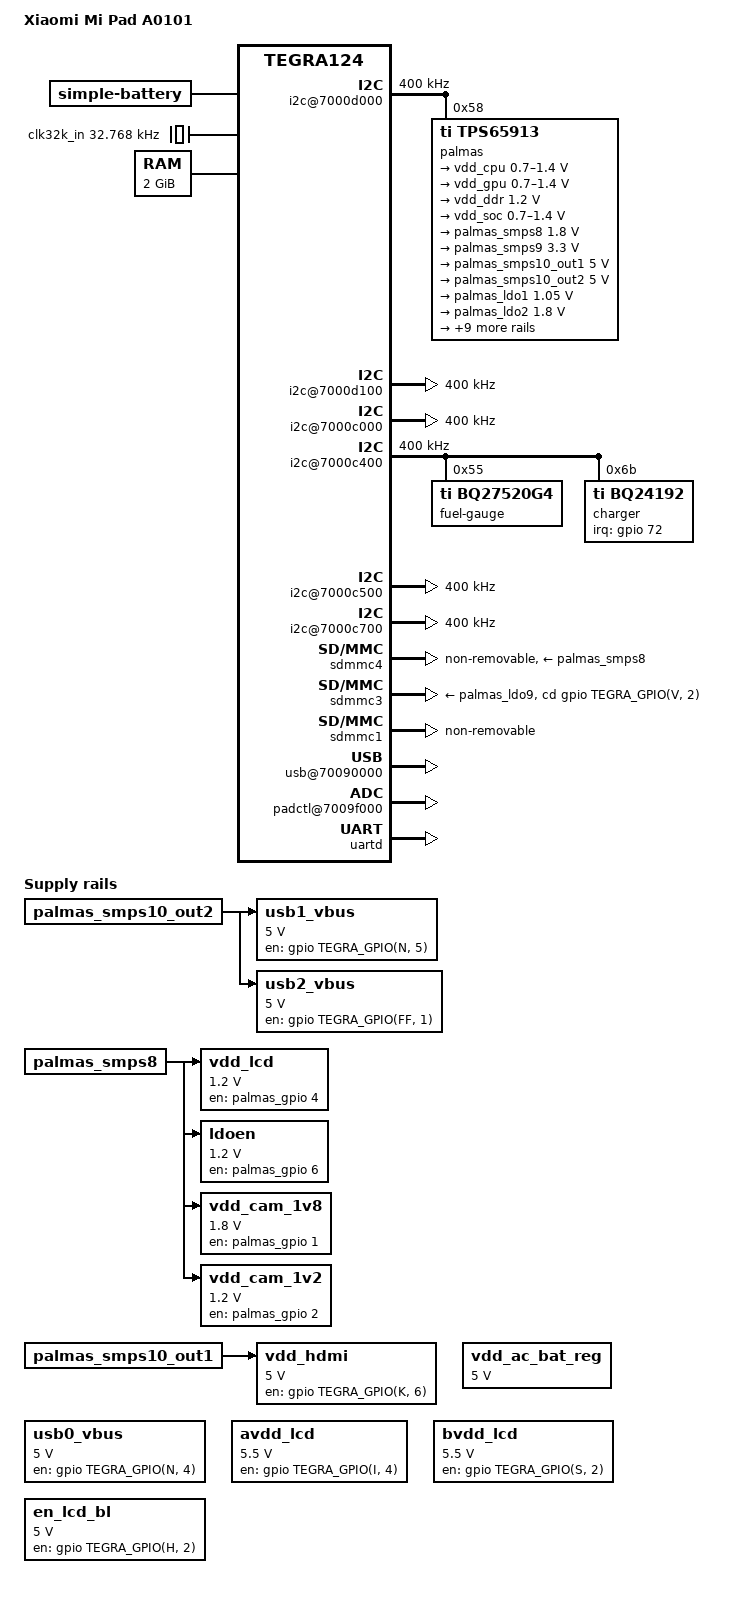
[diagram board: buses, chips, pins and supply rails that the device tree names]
// SPDX-License-Identifier: GPL-2.0
/dts-v1/;

#include <dt-bindings/input/input.h>
#include "tegra124.dtsi"
#include "tegra124-xiaomi-mocha-emc.dtsi"
 
/ {
    model = "Xiaomi Mi Pad A0101";
    compatible = "xiaomi,mocha", "nvidia,tegra124";

	aliases {
		rtc0 = "/i2c@7000d000/pmic@58";
		rtc1 = "/rtc@7000e000";
		sdhci0 = &sdmmc1;
		sdhci2 = &sdmmc3;
		sdhci3 = &sdmmc4;
	};

	bat: battery {
		compatible = "simple-battery";
		voltage-min-design-microvolt = <3800000>;
		energy-full-design-microwatt-hours = <24780000>;
		charge-full-design-microamp-hours = <6520000>;
	};

	clock@70110000 {
		status = "okay";
		vdd-cpu-supply = <&vdd_cpu>;
		nvidia,i2c-fs-rate = <400000>;
	};

	clk32k_in: clock-32k {
		compatible = "fixed-clock";
		reg = <0>;
		#clock-cells = <0>;
		clock-frequency = <32768>;
	};
	
	chosen {
		stdout-path = &uartd;
	};

	cpus {
		cpu@0 {
			vdd-cpu-supply = <&vdd_cpu>;
			enable-method = "psci";
		};

		cpu@1 {
			enable-method = "psci";
		};

		cpu@2 {
			enable-method = "psci";
		};

		cpu@3 {
			enable-method = "psci";
		};
	};

	memory {
		device_type = "memory";
		reg = <0x0 0x80000000 0x0 0x80000000>;
	};

	i2c@7000d000 {
		clock-frequency = <400000>;
		status = "okay";
		palmas: pmic@58 {
			compatible = "ti,tps65913", "ti,palmas";
			reg = <0x58>;
			interrupts = <GIC_SPI 86 IRQ_TYPE_LEVEL_HIGH>;

			#interrupt-cells = <2>;
			interrupt-controller;
			
			ti,system-power-controller;

			palmas_gpio: gpio {
				compatible = "ti,palmas-gpio";
				gpio-controller;
				#gpio-cells = <2>;
			};

			rtc {
				compatible = "ti,palmas-rtc";
				interrupt-parent = <&palmas>;
				interrupts = <8 0>;
			};

			pinmux {
				compatible = "ti,tps65913-pinctrl";
				pinctrl-names = "default";
				pinctrl-0 = <&palmas_default>;

				palmas_default: pinmux {
					powergood {
						pins = "powergood";
						function = "powergood";
					};

					vac {
						pins = "vac";
						function = "vac";
					};

					pin_gpio0 {
						pins = "gpio0";
						function = "id";
						bias-pull-up;
					};

					pin_gpio1 {
						pins = "gpio1";
						function = "gpio";
					};

					pin_gpio6 {
						pins = "gpio2", "gpio3", "gpio4", "gpio6", "gpio7";
						function = "gpio";
					};

					pin_gpio5 {
						pins = "gpio5";
						function = "clk32kgaudio";
					};
				};
			};

			palmas_extcon: extcon {
				compatible = "ti,palmas-usb-vid";
				ti,wakeup;
				#extcon-cells = <0x1>;
				ti,enable-id-detection;
				ti,enable-vbus-detection;
			};

			clk32kgaudio: palmas_clk32k@0 {
				compatible = "ti,palmas-clk32kgaudio";
				#clock-cells = <0>;
			};
			
			palmas_clk32kg@1 {
				compatible = "ti,palmas-clk32kg";
				#clock-cells = <0>;
			};

			pmic {
				compatible = "ti,tps65913-pmic", "ti,palmas-pmic";
				ldo1-in-supply = <&vdd_ddr>;
				ldo2-in-supply = <&vdd_ddr>;
				ldo3-in-supply = <&palmas_smps10_out2>;
				ldo5-in-supply = <&palmas_smps8>;
				ldo6-in-supply = <&palmas_smps9>;
				ldo7-in-supply = <&palmas_smps9>;
				ldo9-in-supply = <&palmas_smps9>;
				ldoln-in-supply = <&palmas_smps10_out2>;
				smps10-out2-supply = <&palmas_smps10_out2>;

				regulators {
					vdd_cpu: smps123 {
						regulator-name = "vdd-cpu";
						regulator-min-microvolt = <700000>;
						regulator-max-microvolt = <1400000>;
						regulator-always-on;
						regulator-boot-on;
					};

					vdd_gpu: smps45 {
						regulator-name = "vdd-gpu";
						regulator-min-microvolt = <700000>;
						regulator-max-microvolt = <1400000>;
						regulator-init-microvolt = <1000000>;
						regulator-boot-on;
					};

					vdd_ddr: smps6 {
						regulator-name = "vddio-ddr";
						regulator-always-on;
						regulator-boot-on;
						regulator-min-microvolt = <1200000>;
						regulator-max-microvolt = <1200000>;
					};

					vdd_soc: smps7 {
						regulator-name = "vdd-core";
						regulator-min-microvolt = <700000>;
						regulator-max-microvolt = <1400000>;
						regulator-always-on;
						regulator-boot-on;
					};

					palmas_smps8: smps8 {
						regulator-name = "vdd-1v8";
						regulator-always-on;
						regulator-boot-on;
						regulator-min-microvolt = <1800000>;
						regulator-max-microvolt = <1800000>;
					};

					palmas_smps9: smps9 {
						regulator-name = "vdd-snsr";
						regulator-min-microvolt = <3300000>;
						regulator-max-microvolt = <3300000>;
						regulator-always-on;
						regulator-boot-on;
					};

					palmas_smps10_out1: smps10_out1 {
						regulator-name = "vdd-out1-5v0";
						regulator-min-microvolt = <5000000>;
						regulator-max-microvolt = <5000000>;
						regulator-always-on;
						regulator-boot-on;
					};

					palmas_smps10_out2: smps10_out2 {
						regulator-name = "vdd-out2-5v0";
						regulator-min-microvolt = <5000000>;
						regulator-max-microvolt = <5000000>;
					};

					palmas_ldo1: ldo1 {
						regulator-name = "avdd-pll";
						regulator-always-on;
						regulator-boot-on;
						regulator-min-microvolt = <1050000>;
						regulator-max-microvolt = <1050000>;
					};

					palmas_ldo2: ldo2 {
						regulator-name = "vdd-lcd-io";
						regulator-min-microvolt = <1800000>;
						regulator-max-microvolt = <1800000>;
						regulator-always-on;
						regulator-boot-on;
					};

					ldo3_reg: ldo3 {
						regulator-name = "vdd-touch";
						regulator-min-microvolt = <3300000>;
						regulator-max-microvolt = <3300000>;
					};

					ldo4 {
						regulator-name = "avdd-cam";
						regulator-min-microvolt = <2700000>;
						regulator-max-microvolt = <2700000>;
					};

					ldo5_reg: ldo5 {
						regulator-name = "avdd-dsi-csi";
						regulator-min-microvolt = <1200000>;
						regulator-max-microvolt = <1200000>;
					};

					ldo6 {
						regulator-name = "vdd-cam-af";
						regulator-min-microvolt = <1800000>;
						regulator-max-microvolt = <1800000>;
					};

					ldo7 {
						regulator-name = "avdd-cam-af";
						regulator-min-microvolt = <2700000>;
						regulator-max-microvolt = <2700000>;
					};

					ldo8 {
						regulator-name = "vdd-rtc";
						regulator-min-microvolt = <950000>;
						regulator-max-microvolt = <950000>;
						regulator-always-on;
						regulator-boot-on;
					};

					palmas_ldo9: ldo9 {
						regulator-name = "vddio-sdmmc-2";
						regulator-min-microvolt = <1800000>;
						regulator-max-microvolt = <3300000>;
					};

					palmas_ldoln: ldoln {
						regulator-name = "vddio-hv";
						regulator-always-on;
						regulator-boot-on;
						regulator-min-microvolt = <3300000>;
						regulator-max-microvolt = <3300000>;
					};

					ldousb_reg: ldousb {
						regulator-name = "avdd-usb";
						regulator-always-on;
						regulator-boot-on;
						regulator-min-microvolt = <3300000>;
						regulator-max-microvolt = <3300000>;
					};
				};
			};
		};
	};

	i2c@7000d100 {
		status = "okay";
		clock-frequency = <400000>;
	};

	i2c@7000c000 {
		status = "okay";
		clock-frequency = <400000>;
	};

	i2c@7000c400 {
		status = "okay";
		clock-frequency = <400000>;
		#address-cells = <1>;
		#size-cells = <0>;

		fuel-gauge@55 {
			compatible = "ti,bq27520g4";
			reg = <0x55>;
			monitored-battery = <&bat>;
		};

		charger@6b {
			compatible = "ti,bq24192";
			reg = <0x6b>;
			interrupt-parent = <&gpio>;
			interrupts = <72 IRQ_TYPE_LEVEL_HIGH>;
			monitored-battery = <&bat>;
			omit-battery-class;
	
			usb_otg_vbus: usb-otg-vbus { };
		  };
	};

	i2c@7000c500 {
		status = "okay";
		clock-frequency = <400000>;
	};

	i2c@7000c700 {
		status = "okay";
		clock-frequency = <400000>;
	};

	sdmmc4: mmc@700b0600 {
		vmmc-supply = <&palmas_smps8>;
		bus_width = <8>;
		non-removable;
		max-frequency = <51000000>;
		status = "okay";
 	};
	
	/* SDcard */
	sdmmc3: mmc@700b0400 {
		sd-uhs-ddr50;
		mmc-ddr-3_3v;
		max-frequency = <41000000>;
 		power-gpios = <&gpio TEGRA_GPIO(R, 0) 0>;
 		cd-gpios = <&gpio TEGRA_GPIO(V, 2) 0>;
 		vmmc-supply = <&palmas_ldo9>;
		vqmmc-supply = <&palmas_smps9>;
		status = "okay";
	};
	
	/* Wi-Fi */
	sdmmc1: mmc@700b0000 {
		non-removable;
		power-gpios = <&gpio TEGRA_GPIO(X, 7) 0>;
		vqmmc-supply = <&palmas_smps8>;
 		status = "okay";
	};

	pinmux: pinmux@70000868 {
		status = "okay";
		pinctrl-names = "default";
		pinctrl-0 = <&pinmux_default>;

		pinmux_default: common {
			dap_mclk1_pw4 {
				nvidia,pins = "dap_mclk1_pw4";
				nvidia,function = "extperiph1";
				nvidia,enable-input = <TEGRA_PIN_DISABLE>;
				nvidia,pull = <TEGRA_PIN_PULL_NONE>;
				nvidia,tristate = <TEGRA_PIN_DISABLE>;
			};

			dap1_din_pn1 {
				nvidia,pins = "dap1_din_pn1";
				nvidia,function = "i2s0";
				nvidia,enable-input = <TEGRA_PIN_ENABLE>;
				nvidia,pull = <TEGRA_PIN_PULL_NONE>;
				nvidia,tristate = <TEGRA_PIN_ENABLE>;
			};

			dap1_dout_pn2 {
				nvidia,pins = "dap1_dout_pn2";
				nvidia,function = "i2s0";
				nvidia,enable-input = <TEGRA_PIN_DISABLE>;
				nvidia,pull = <TEGRA_PIN_PULL_NONE>;
				nvidia,tristate = <TEGRA_PIN_ENABLE>;
			};

			dap1_fs_pn0 {
				nvidia,pins = "dap1_fs_pn0";
				nvidia,function = "i2s0";
				nvidia,enable-input = <TEGRA_PIN_ENABLE>;
				nvidia,pull = <TEGRA_PIN_PULL_NONE>;
				nvidia,tristate = <TEGRA_PIN_ENABLE>;
			};

			dap1_sclk_pn3 {
				nvidia,pins = "dap1_sclk_pn3";
				nvidia,function = "i2s0";
				nvidia,enable-input = <TEGRA_PIN_ENABLE>;
				nvidia,pull = <TEGRA_PIN_PULL_NONE>;
				nvidia,tristate = <TEGRA_PIN_ENABLE>;
			};

			dap2_din_pa4 {
				nvidia,pins = "dap2_din_pa4";
				nvidia,function = "i2s1";
				nvidia,enable-input = <TEGRA_PIN_DISABLE>;
				nvidia,pull = <TEGRA_PIN_PULL_NONE>;
				nvidia,tristate = <TEGRA_PIN_DISABLE>;
			};

			dap2_dout_pa5 {
				nvidia,pins = "dap2_dout_pa5";
				nvidia,function = "i2s1";
				nvidia,enable-input = <TEGRA_PIN_DISABLE>;
				nvidia,pull = <TEGRA_PIN_PULL_NONE>;
				nvidia,tristate = <TEGRA_PIN_DISABLE>;
			};

			dap2_fs_pa2 {
				nvidia,pins = "dap2_fs_pa2";
				nvidia,function = "i2s1";
				nvidia,enable-input = <TEGRA_PIN_ENABLE>;
				nvidia,pull = <TEGRA_PIN_PULL_UP>;
				nvidia,tristate = <TEGRA_PIN_DISABLE>;
			};

			dap2_sclk_pa3 {
				nvidia,pins = "dap2_sclk_pa3";
				nvidia,function = "i2s1";
				nvidia,enable-input = <TEGRA_PIN_ENABLE>;
				nvidia,pull = <TEGRA_PIN_PULL_UP>;
				nvidia,tristate = <TEGRA_PIN_DISABLE>;
			};

			dvfs_pwm_px0 {
				nvidia,pins = "dvfs_pwm_px0";
				nvidia,function = "cldvfs";
				nvidia,enable-input = <TEGRA_PIN_DISABLE>;
				nvidia,pull = <TEGRA_PIN_PULL_NONE>;
				nvidia,tristate = <TEGRA_PIN_ENABLE>;
			};

			dvfs_clk_px2 {
				nvidia,pins = "dvfs_clk_px2";
				nvidia,function = "cldvfs";
				nvidia,enable-input = <TEGRA_PIN_DISABLE>;
				nvidia,pull = <TEGRA_PIN_PULL_NONE>;
				nvidia,tristate = <TEGRA_PIN_DISABLE>;
			};

			cam_i2c_scl_pbb1 {
				nvidia,pins = "cam_i2c_scl_pbb1";
				nvidia,function = "i2c3";
				nvidia,enable-input = <TEGRA_PIN_ENABLE>;
				nvidia,pull = <TEGRA_PIN_PULL_NONE>;
				nvidia,tristate = <TEGRA_PIN_DISABLE>;
				nvidia,lock = <TEGRA_PIN_DISABLE>;
				nvidia,open-drain = <TEGRA_PIN_DISABLE>;
			};

			cam_i2c_sda_pbb2 {
				nvidia,pins = "cam_i2c_sda_pbb2";
				nvidia,function = "i2c3";
				nvidia,enable-input = <TEGRA_PIN_ENABLE>;
				nvidia,pull = <TEGRA_PIN_PULL_NONE>;
				nvidia,tristate = <TEGRA_PIN_DISABLE>;
				nvidia,lock = <TEGRA_PIN_DISABLE>;
				nvidia,open-drain = <TEGRA_PIN_DISABLE>;
			};

			cam_mclk_pcc0 {
				nvidia,pins = "cam_mclk_pcc0";
				nvidia,function = "vi_alt3";
				nvidia,enable-input = <TEGRA_PIN_DISABLE>;
				nvidia,pull = <TEGRA_PIN_PULL_NONE>;
				nvidia,tristate = <TEGRA_PIN_DISABLE>;
			};

			pbb0 {
				nvidia,pins = "pbb0";
				nvidia,function = "vimclk2_alt";
				nvidia,enable-input = <TEGRA_PIN_DISABLE>;
				nvidia,pull = <TEGRA_PIN_PULL_NONE>;
				nvidia,tristate = <TEGRA_PIN_DISABLE>;
			};

			gen2_i2c_scl_pt5 {
				nvidia,pins = "gen2_i2c_scl_pt5";
				nvidia,function = "i2c2";
				nvidia,enable-input = <TEGRA_PIN_ENABLE>;
				nvidia,pull = <TEGRA_PIN_PULL_NONE>;
				nvidia,tristate = <TEGRA_PIN_DISABLE>;
				nvidia,lock = <TEGRA_PIN_DISABLE>;
				nvidia,open-drain = <TEGRA_PIN_DISABLE>;
			};

			gen2_i2c_sda_pt6 {
				nvidia,pins = "gen2_i2c_sda_pt6";
				nvidia,function = "i2c2";
				nvidia,enable-input = <TEGRA_PIN_ENABLE>;
				nvidia,pull = <TEGRA_PIN_PULL_NONE>;
				nvidia,tristate = <TEGRA_PIN_DISABLE>;
				nvidia,lock = <TEGRA_PIN_DISABLE>;
				nvidia,open-drain = <TEGRA_PIN_DISABLE>;
			};

			pj7 {
				nvidia,pins = "pj7";
				nvidia,function = "uartd";
				nvidia,enable-input = <TEGRA_PIN_DISABLE>;
				nvidia,pull = <TEGRA_PIN_PULL_NONE>;
				nvidia,tristate = <TEGRA_PIN_DISABLE>;
			};

			pb0 {
				nvidia,pins = "pb0";
				nvidia,function = "uartd";
				nvidia,enable-input = <TEGRA_PIN_ENABLE>;
				nvidia,pull = <TEGRA_PIN_PULL_UP>;
				nvidia,tristate = <TEGRA_PIN_ENABLE>;
			};

			pg6 {
				nvidia,pins = "pg6";
				nvidia,function = "rsvd1";
				nvidia,enable-input = <TEGRA_PIN_DISABLE>;
				nvidia,pull = <TEGRA_PIN_PULL_NONE>;
				nvidia,tristate = <TEGRA_PIN_DISABLE>;
			};

			pg7 {
				nvidia,pins = "pg7";
				nvidia,function = "rsvd1";
				nvidia,enable-input = <TEGRA_PIN_DISABLE>;
				nvidia,pull = <TEGRA_PIN_PULL_NONE>;
				nvidia,tristate = <TEGRA_PIN_DISABLE>;
			};

			ph0 {
				nvidia,pins = "ph0";
				nvidia,function = "pwm0";
				nvidia,enable-input = <TEGRA_PIN_DISABLE>;
				nvidia,pull = <TEGRA_PIN_PULL_NONE>;
				nvidia,tristate = <TEGRA_PIN_DISABLE>;
			};

			ph1 {
				nvidia,pins = "ph1";
				nvidia,function = "pwm1";
				nvidia,enable-input = <TEGRA_PIN_DISABLE>;
				nvidia,pull = <TEGRA_PIN_PULL_NONE>;
				nvidia,tristate = <TEGRA_PIN_DISABLE>;
			};

			pj2 {
				nvidia,pins = "pj2";
				nvidia,function = "soc";
				nvidia,enable-input = <TEGRA_PIN_ENABLE>;
				nvidia,pull = <TEGRA_PIN_PULL_UP>;
				nvidia,tristate = <TEGRA_PIN_DISABLE>;
			};

			kb_row15_ps7 {
				nvidia,pins = "kb_row15_ps7";
				nvidia,function = "soc";
				nvidia,enable-input = <TEGRA_PIN_ENABLE>;
				nvidia,pull = <TEGRA_PIN_PULL_UP>;
				nvidia,tristate = <TEGRA_PIN_DISABLE>;
			};

			clk_32k_out_pa0 {
				nvidia,pins = "clk_32k_out_pa0";
				nvidia,function = "soc";
				nvidia,enable-input = <TEGRA_PIN_ENABLE>;
				nvidia,pull = <TEGRA_PIN_PULL_UP>;
				nvidia,tristate = <TEGRA_PIN_DISABLE>;
			};

			clk2_out_pw5 {
				nvidia,pins = "clk2_out_pw5";
				nvidia,function = "extperiph2";
				nvidia,enable-input = <TEGRA_PIN_DISABLE>;
				nvidia,pull = <TEGRA_PIN_PULL_UP>;
				nvidia,tristate = <TEGRA_PIN_DISABLE>;
			};

			sdmmc1_clk_pz0 {
				nvidia,pins = "sdmmc1_clk_pz0";
				nvidia,function = "sdmmc1";
				nvidia,enable-input = <TEGRA_PIN_ENABLE>;
				nvidia,pull = <TEGRA_PIN_PULL_NONE>;
				nvidia,tristate = <TEGRA_PIN_DISABLE>;
			};

			sdmmc1_cmd_pz1 {
				nvidia,pins = "sdmmc1_cmd_pz1";
				nvidia,function = "sdmmc1";
				nvidia,enable-input = <TEGRA_PIN_ENABLE>;
				nvidia,pull = <TEGRA_PIN_PULL_UP>;
				nvidia,tristate = <TEGRA_PIN_DISABLE>;
			};

			sdmmc1_dat0_py7 {
				nvidia,pins = "sdmmc1_dat0_py7";
				nvidia,function = "sdmmc1";
				nvidia,enable-input = <TEGRA_PIN_ENABLE>;
				nvidia,pull = <TEGRA_PIN_PULL_UP>;
				nvidia,tristate = <TEGRA_PIN_DISABLE>;
			};

			sdmmc1_dat1_py6 {
				nvidia,pins = "sdmmc1_dat1_py6";
				nvidia,function = "sdmmc1";
				nvidia,enable-input = <TEGRA_PIN_ENABLE>;
				nvidia,pull = <TEGRA_PIN_PULL_UP>;
				nvidia,tristate = <TEGRA_PIN_DISABLE>;
			};

			sdmmc1_dat2_py5 {
				nvidia,pins = "sdmmc1_dat2_py5";
				nvidia,function = "sdmmc1";
				nvidia,enable-input = <TEGRA_PIN_ENABLE>;
				nvidia,pull = <TEGRA_PIN_PULL_UP>;
				nvidia,tristate = <TEGRA_PIN_DISABLE>;
			};

			sdmmc1_dat3_py4 {
				nvidia,pins = "sdmmc1_dat3_py4";
				nvidia,function = "sdmmc1";
				nvidia,enable-input = <TEGRA_PIN_ENABLE>;
				nvidia,pull = <TEGRA_PIN_PULL_UP>;
				nvidia,tristate = <TEGRA_PIN_DISABLE>;
			};

			sdmmc3_clk_pa6 {
				nvidia,pins = "sdmmc3_clk_pa6";
				nvidia,function = "sdmmc3";
				nvidia,enable-input = <TEGRA_PIN_ENABLE>;
				nvidia,pull = <TEGRA_PIN_PULL_NONE>;
				nvidia,tristate = <TEGRA_PIN_DISABLE>;
			};

			sdmmc3_cmd_pa7 {
				nvidia,pins = "sdmmc3_cmd_pa7";
				nvidia,function = "sdmmc3";
				nvidia,enable-input = <TEGRA_PIN_ENABLE>;
				nvidia,pull = <TEGRA_PIN_PULL_UP>;
				nvidia,tristate = <TEGRA_PIN_DISABLE>;
			};

			sdmmc3_dat0_pb7 {
				nvidia,pins = "sdmmc3_dat0_pb7";
				nvidia,function = "sdmmc3";
				nvidia,enable-input = <TEGRA_PIN_ENABLE>;
				nvidia,pull = <TEGRA_PIN_PULL_UP>;
				nvidia,tristate = <TEGRA_PIN_DISABLE>;
			};

			sdmmc3_dat1_pb6 {
				nvidia,pins = "sdmmc3_dat1_pb6";
				nvidia,function = "sdmmc3";
				nvidia,enable-input = <TEGRA_PIN_ENABLE>;
				nvidia,pull = <TEGRA_PIN_PULL_UP>;
				nvidia,tristate = <TEGRA_PIN_DISABLE>;
			};

			sdmmc3_dat2_pb5 {
				nvidia,pins = "sdmmc3_dat2_pb5";
				nvidia,function = "sdmmc3";
				nvidia,enable-input = <TEGRA_PIN_ENABLE>;
				nvidia,pull = <TEGRA_PIN_PULL_UP>;
				nvidia,tristate = <TEGRA_PIN_DISABLE>;
			};

			sdmmc3_dat3_pb4 {
				nvidia,pins = "sdmmc3_dat3_pb4";
				nvidia,function = "sdmmc3";
				nvidia,enable-input = <TEGRA_PIN_ENABLE>;
				nvidia,pull = <TEGRA_PIN_PULL_UP>;
				nvidia,tristate = <TEGRA_PIN_DISABLE>;
			};

			sdmmc3_clk_lb_out_pee4 {
				nvidia,pins = "sdmmc3_clk_lb_out_pee4";
				nvidia,function = "sdmmc3";
				nvidia,enable-input = <TEGRA_PIN_ENABLE>;
				nvidia,pull = <TEGRA_PIN_PULL_UP>;
				nvidia,tristate = <TEGRA_PIN_DISABLE>;
			};

			sdmmc3_clk_lb_in_pee5 {
				nvidia,pins = "sdmmc3_clk_lb_in_pee5";
				nvidia,function = "sdmmc3";
				nvidia,enable-input = <TEGRA_PIN_ENABLE>;
				nvidia,pull = <TEGRA_PIN_PULL_UP>;
				nvidia,tristate = <TEGRA_PIN_DISABLE>;
			};

			sdmmc3_cd_n_pv2 {
				nvidia,pins = "sdmmc3_cd_n_pv2";
				nvidia,function = "sdmmc3";
				nvidia,enable-input = <TEGRA_PIN_ENABLE>;
				nvidia,pull = <TEGRA_PIN_PULL_NONE>;
				nvidia,tristate = <TEGRA_PIN_DISABLE>;
			};

			sdmmc4_clk_pcc4 {
				nvidia,pins = "sdmmc4_clk_pcc4";
				nvidia,function = "sdmmc4";
				nvidia,enable-input = <TEGRA_PIN_ENABLE>;
				nvidia,pull = <TEGRA_PIN_PULL_NONE>;
				nvidia,tristate = <TEGRA_PIN_DISABLE>;
			};

			sdmmc4_cmd_pt7 {
				nvidia,pins = "sdmmc4_cmd_pt7";
				nvidia,function = "sdmmc4";
				nvidia,enable-input = <TEGRA_PIN_ENABLE>;
				nvidia,pull = <TEGRA_PIN_PULL_UP>;
				nvidia,tristate = <TEGRA_PIN_DISABLE>;
			};

			sdmmc4_dat0_paa0 {
				nvidia,pins = "sdmmc4_dat0_paa0";
				nvidia,function = "sdmmc4";
				nvidia,enable-input = <TEGRA_PIN_ENABLE>;
				nvidia,pull = <TEGRA_PIN_PULL_UP>;
				nvidia,tristate = <TEGRA_PIN_DISABLE>;
			};

			sdmmc4_dat1_paa1 {
				nvidia,pins = "sdmmc4_dat1_paa1";
				nvidia,function = "sdmmc4";
				nvidia,enable-input = <TEGRA_PIN_ENABLE>;
				nvidia,pull = <TEGRA_PIN_PULL_UP>;
				nvidia,tristate = <TEGRA_PIN_DISABLE>;
			};

			sdmmc4_dat2_paa2 {
				nvidia,pins = "sdmmc4_dat2_paa2";
				nvidia,function = "sdmmc4";
				nvidia,enable-input = <TEGRA_PIN_ENABLE>;
				nvidia,pull = <TEGRA_PIN_PULL_UP>;
				nvidia,tristate = <TEGRA_PIN_DISABLE>;
			};

			sdmmc4_dat3_paa3 {
				nvidia,pins = "sdmmc4_dat3_paa3";
				nvidia,function = "sdmmc4";
				nvidia,enable-input = <TEGRA_PIN_ENABLE>;
				nvidia,pull = <TEGRA_PIN_PULL_UP>;
				nvidia,tristate = <TEGRA_PIN_DISABLE>;
			};

			sdmmc4_dat4_paa4 {
				nvidia,pins = "sdmmc4_dat4_paa4";
				nvidia,function = "sdmmc4";
				nvidia,enable-input = <TEGRA_PIN_ENABLE>;
				nvidia,pull = <TEGRA_PIN_PULL_UP>;
				nvidia,tristate = <TEGRA_PIN_DISABLE>;
			};

			sdmmc4_dat5_paa5 {
				nvidia,pins = "sdmmc4_dat5_paa5";
				nvidia,function = "sdmmc4";
				nvidia,enable-input = <TEGRA_PIN_ENABLE>;
				nvidia,pull = <TEGRA_PIN_PULL_UP>;
				nvidia,tristate = <TEGRA_PIN_DISABLE>;
			};

			sdmmc4_dat6_paa6 {
				nvidia,pins = "sdmmc4_dat6_paa6";
				nvidia,function = "sdmmc4";
				nvidia,enable-input = <TEGRA_PIN_ENABLE>;
				nvidia,pull = <TEGRA_PIN_PULL_UP>;
				nvidia,tristate = <TEGRA_PIN_DISABLE>;
			};

			sdmmc4_dat7_paa7 {
				nvidia,pins = "sdmmc4_dat7_paa7";
				nvidia,function = "sdmmc4";
				nvidia,enable-input = <TEGRA_PIN_ENABLE>;
				nvidia,pull = <TEGRA_PIN_PULL_UP>;
				nvidia,tristate = <TEGRA_PIN_DISABLE>;
			};

			kb_row3_pr3 {
				nvidia,pins = "kb_row3_pr3";
				nvidia,function = "kbc";
				nvidia,enable-input = <TEGRA_PIN_ENABLE>;
				nvidia,pull = <TEGRA_PIN_PULL_NONE>;
				nvidia,tristate = <TEGRA_PIN_DISABLE>;
			};

			kb_row6_pr6 {
				nvidia,pins = "kb_row6_pr6";
				nvidia,function = "displaya_alt";
				nvidia,enable-input = <TEGRA_PIN_ENABLE>;
				nvidia,pull = <TEGRA_PIN_PULL_NONE>;
				nvidia,tristate = <TEGRA_PIN_DISABLE>;
			};

			pwr_i2c_scl_pz6 {
				nvidia,pins = "pwr_i2c_scl_pz6";
				nvidia,function = "i2cpwr";
				nvidia,enable-input = <TEGRA_PIN_ENABLE>;
				nvidia,pull = <TEGRA_PIN_PULL_NONE>;
				nvidia,tristate = <TEGRA_PIN_DISABLE>;
				nvidia,open-drain = <TEGRA_PIN_DISABLE>;
			};

			pwr_i2c_sda_pz7 {
				nvidia,pins = "pwr_i2c_sda_pz7";
				nvidia,function = "i2cpwr";
				nvidia,enable-input = <TEGRA_PIN_ENABLE>;
				nvidia,pull = <TEGRA_PIN_PULL_NONE>;
				nvidia,tristate = <TEGRA_PIN_DISABLE>;
				nvidia,open-drain = <TEGRA_PIN_DISABLE>;
			};

			clk_32k_in {
				nvidia,pins = "clk_32k_in";
				nvidia,function = "clk";
				nvidia,enable-input = <TEGRA_PIN_ENABLE>;
				nvidia,pull = <TEGRA_PIN_PULL_NONE>;
				nvidia,tristate = <TEGRA_PIN_DISABLE>;
			};

			core_pwr_req {
				nvidia,pins = "core_pwr_req";
				nvidia,function = "pwron";
				nvidia,enable-input = <TEGRA_PIN_DISABLE>;
				nvidia,pull = <TEGRA_PIN_PULL_NONE>;
				nvidia,tristate = <TEGRA_PIN_DISABLE>;
			};

			cpu_pwr_req {
				nvidia,pins = "cpu_pwr_req";
				nvidia,function = "cpu";
				nvidia,enable-input = <TEGRA_PIN_DISABLE>;
				nvidia,pull = <TEGRA_PIN_PULL_NONE>;
				nvidia,tristate = <TEGRA_PIN_DISABLE>;
			};

			pwr_int_n {
				nvidia,pins = "pwr_int_n";
				nvidia,function = "pmi";
				nvidia,enable-input = <TEGRA_PIN_ENABLE>;
				nvidia,pull = <TEGRA_PIN_PULL_UP>;
				nvidia,tristate = <TEGRA_PIN_DISABLE>;
			};

			reset_out_n {
				nvidia,pins = "reset_out_n";
				nvidia,function = "reset_out_n";
				nvidia,enable-input = <TEGRA_PIN_DISABLE>;
				nvidia,pull = <TEGRA_PIN_PULL_NONE>;
				nvidia,tristate = <TEGRA_PIN_DISABLE>;
			};

			gen1_i2c_sda_pc5 {
				nvidia,pins = "gen1_i2c_sda_pc5";
				nvidia,function = "i2c1";
				nvidia,enable-input = <TEGRA_PIN_ENABLE>;
				nvidia,pull = <TEGRA_PIN_PULL_NONE>;
				nvidia,tristate = <TEGRA_PIN_DISABLE>;
				nvidia,lock = <TEGRA_PIN_DISABLE>;
				nvidia,open-drain = <TEGRA_PIN_DISABLE>;
			};

			gen1_i2c_scl_pc4 {
				nvidia,pins = "gen1_i2c_scl_pc4";
				nvidia,function = "i2c1";
				nvidia,enable-input = <TEGRA_PIN_ENABLE>;
				nvidia,pull = <TEGRA_PIN_PULL_NONE>;
				nvidia,tristate = <TEGRA_PIN_DISABLE>;
				nvidia,lock = <TEGRA_PIN_DISABLE>;
				nvidia,open-drain = <TEGRA_PIN_DISABLE>;
			};

			uart2_cts_n_pj5 {
				nvidia,pins = "uart2_cts_n_pj5";
				nvidia,function = "uartb";
				nvidia,enable-input = <TEGRA_PIN_ENABLE>;
				nvidia,pull = <TEGRA_PIN_PULL_UP>;
				nvidia,tristate = <TEGRA_PIN_DISABLE>;
			};

			uart2_rts_n_pj6 {
				nvidia,pins = "uart2_rts_n_pj6";
				nvidia,function = "uartb";
				nvidia,enable-input = <TEGRA_PIN_DISABLE>;
				nvidia,pull = <TEGRA_PIN_PULL_UP>;
				nvidia,tristate = <TEGRA_PIN_DISABLE>;
			};

			uart2_rxd_pc3 {
				nvidia,pins = "uart2_rxd_pc3";
				nvidia,function = "irda";
				nvidia,enable-input = <TEGRA_PIN_ENABLE>;
				nvidia,pull = <TEGRA_PIN_PULL_UP>;
				nvidia,tristate = <TEGRA_PIN_DISABLE>;
			};

			uart2_txd_pc2 {
				nvidia,pins = "uart2_txd_pc2";
				nvidia,function = "irda";
				nvidia,enable-input = <TEGRA_PIN_DISABLE>;
				nvidia,pull = <TEGRA_PIN_PULL_UP>;
				nvidia,tristate = <TEGRA_PIN_DISABLE>;
			};

			uart3_cts_n_pa1 {
				nvidia,pins = "uart3_cts_n_pa1";
				nvidia,function = "uartc";
				nvidia,enable-input = <TEGRA_PIN_ENABLE>;
				nvidia,pull = <TEGRA_PIN_PULL_UP>;
				nvidia,tristate = <TEGRA_PIN_DISABLE>;
			};

			uart3_rts_n_pc0 {
				nvidia,pins = "uart3_rts_n_pc0";
				nvidia,function = "uartc";
				nvidia,enable-input = <TEGRA_PIN_DISABLE>;
				nvidia,pull = <TEGRA_PIN_PULL_UP>;
				nvidia,tristate = <TEGRA_PIN_DISABLE>;
			};

			uart3_rxd_pw7 {
				nvidia,pins = "uart3_rxd_pw7";
				nvidia,function = "uartc";
				nvidia,enable-input = <TEGRA_PIN_ENABLE>;
				nvidia,pull = <TEGRA_PIN_PULL_UP>;
				nvidia,tristate = <TEGRA_PIN_DISABLE>;
			};

			uart3_txd_pw6 {
				nvidia,pins = "uart3_txd_pw6";
				nvidia,function = "uartc";
				nvidia,enable-input = <TEGRA_PIN_DISABLE>;
				nvidia,pull = <TEGRA_PIN_PULL_UP>;
				nvidia,tristate = <TEGRA_PIN_DISABLE>;
			};

			ddc_scl_pv4 {
				nvidia,pins = "ddc_scl_pv4";
				nvidia,function = "i2c4";
				nvidia,enable-input = <TEGRA_PIN_ENABLE>;
				nvidia,pull = <TEGRA_PIN_PULL_NONE>;
				nvidia,tristate = <TEGRA_PIN_DISABLE>;
			};

			ddc_sda_pv5 {
				nvidia,pins = "ddc_sda_pv5";
				nvidia,function = "i2c4";
				nvidia,enable-input = <TEGRA_PIN_ENABLE>;
				nvidia,pull = <TEGRA_PIN_PULL_NONE>;
				nvidia,tristate = <TEGRA_PIN_DISABLE>;
			};

			pi7 {
				nvidia,pins = "pi7";
				nvidia,function = "rsvd1";
				nvidia,enable-input = <TEGRA_PIN_ENABLE>;
				nvidia,pull = <TEGRA_PIN_PULL_UP>;
				nvidia,tristate = <TEGRA_PIN_DISABLE>;
			};

			gpio_x5_aud_px5 {
				nvidia,pins = "gpio_x5_aud_px5";
				nvidia,function = "spi1";
				nvidia,enable-input = <TEGRA_PIN_DISABLE>;
				nvidia,pull = <TEGRA_PIN_PULL_NONE>;
				nvidia,tristate = <TEGRA_PIN_DISABLE>;
			};

			gpio_x7_aud_px7 {
				nvidia,pins = "gpio_x7_aud_px7";
				nvidia,function = "spi1";
				nvidia,enable-input = <TEGRA_PIN_DISABLE>;
				nvidia,pull = <TEGRA_PIN_PULL_NONE>;
				nvidia,tristate = <TEGRA_PIN_DISABLE>;
			};

			gpio_w2_aud_pw2 {
				nvidia,pins = "gpio_w2_aud_pw2";
				nvidia,function = "rsvd2";
				nvidia,enable-input = <TEGRA_PIN_ENABLE>;
				nvidia,pull = <TEGRA_PIN_PULL_UP>;
				nvidia,tristate = <TEGRA_PIN_DISABLE>;
			};

			gpio_w3_aud_pw3 {
				nvidia,pins = "gpio_w3_aud_pw3";
				nvidia,function = "spi1";
				nvidia,enable-input = <TEGRA_PIN_ENABLE>;
				nvidia,pull = <TEGRA_PIN_PULL_UP>;
				nvidia,tristate = <TEGRA_PIN_DISABLE>;
			};

			gpio_x1_aud_px1 {
				nvidia,pins = "gpio_x1_aud_px1";
				nvidia,function = "spi6";
				nvidia,enable-input = <TEGRA_PIN_DISABLE>;
				nvidia,pull = <TEGRA_PIN_PULL_NONE>;
				nvidia,tristate = <TEGRA_PIN_DISABLE>;
			};

			gpio_x3_aud_px3 {
				nvidia,pins = "gpio_x3_aud_px3";
				nvidia,function = "spi6";
				nvidia,enable-input = <TEGRA_PIN_ENABLE>;
				nvidia,pull = <TEGRA_PIN_PULL_UP>;
				nvidia,tristate = <TEGRA_PIN_DISABLE>;
			};

			ulpi_data1_po2 {
				nvidia,pins = "ulpi_data1_po2";
				nvidia,function = "spi3";
				nvidia,enable-input = <TEGRA_PIN_ENABLE>;
				nvidia,pull = <TEGRA_PIN_PULL_UP>;
				nvidia,tristate = <TEGRA_PIN_DISABLE>;
			};

			ulpi_data2_po3 {
				nvidia,pins = "ulpi_data2_po3";
				nvidia,function = "spi3";
				nvidia,enable-input = <TEGRA_PIN_ENABLE>;
				nvidia,pull = <TEGRA_PIN_PULL_UP>;
				nvidia,tristate = <TEGRA_PIN_DISABLE>;
			};

			pbb3 {
				nvidia,pins = "pbb3";
				nvidia,function = "vgp3";
				nvidia,enable-input = <TEGRA_PIN_DISABLE>;
				nvidia,pull = <TEGRA_PIN_PULL_NONE>;
				nvidia,tristate = <TEGRA_PIN_DISABLE>;
			};

			pbb4 {
				nvidia,pins = "pbb4";
				nvidia,function = "vgp4";
				nvidia,enable-input = <TEGRA_PIN_DISABLE>;
				nvidia,pull = <TEGRA_PIN_PULL_UP>;
				nvidia,tristate = <TEGRA_PIN_DISABLE>;
			};

			pbb5 {
				nvidia,pins = "pbb5";
				nvidia,function = "vgp5";
				nvidia,enable-input = <TEGRA_PIN_DISABLE>;
				nvidia,pull = <TEGRA_PIN_PULL_UP>;
				nvidia,tristate = <TEGRA_PIN_DISABLE>;
			};

			pbb6 {
				nvidia,pins = "pbb6";
				nvidia,function = "i2s4";
				nvidia,enable-input = <TEGRA_PIN_DISABLE>;
				nvidia,pull = <TEGRA_PIN_PULL_NONE>;
				nvidia,tristate = <TEGRA_PIN_DISABLE>;
			};

			pbb7 {
				nvidia,pins = "pbb7";
				nvidia,function = "i2s4";
				nvidia,enable-input = <TEGRA_PIN_DISABLE>;
				nvidia,pull = <TEGRA_PIN_PULL_NONE>;
				nvidia,tristate = <TEGRA_PIN_DISABLE>;
			};

			pcc1 {
				nvidia,pins = "pcc1";
				nvidia,function = "i2s4";
				nvidia,enable-input = <TEGRA_PIN_DISABLE>;
				nvidia,pull = <TEGRA_PIN_PULL_NONE>;
				nvidia,tristate = <TEGRA_PIN_DISABLE>;
			};

			ph2 {
				nvidia,pins = "ph2";
				nvidia,function = "pwm2";
				nvidia,enable-input = <TEGRA_PIN_DISABLE>;
				nvidia,pull = <TEGRA_PIN_PULL_NONE>;
				nvidia,tristate = <TEGRA_PIN_DISABLE>;
			};

			ph3 {
				nvidia,pins = "ph3";
				nvidia,function = "gmi";
				nvidia,enable-input = <TEGRA_PIN_DISABLE>;
				nvidia,pull = <TEGRA_PIN_PULL_UP>;
				nvidia,tristate = <TEGRA_PIN_DISABLE>;
			};

			ph5 {
				nvidia,pins = "ph5";
				nvidia,function = "gmi";
				nvidia,enable-input = <TEGRA_PIN_DISABLE>;
				nvidia,pull = <TEGRA_PIN_PULL_NONE>;
				nvidia,tristate = <TEGRA_PIN_DISABLE>;
			};

			pg2 {
				nvidia,pins = "pg2";
				nvidia,function = "rsvd4";
				nvidia,enable-input = <TEGRA_PIN_ENABLE>;
				nvidia,pull = <TEGRA_PIN_PULL_DOWN>;
				nvidia,tristate = <TEGRA_PIN_DISABLE>;
			};

			pg3 {
				nvidia,pins = "pg3";
				nvidia,function = "rsvd4";
				nvidia,enable-input = <TEGRA_PIN_ENABLE>;
				nvidia,pull = <TEGRA_PIN_PULL_DOWN>;
				nvidia,tristate = <TEGRA_PIN_DISABLE>;
			};

			pk1 {
				nvidia,pins = "pk1";
				nvidia,function = "gmi";
				nvidia,enable-input = <TEGRA_PIN_DISABLE>;
				nvidia,pull = <TEGRA_PIN_PULL_NONE>;
				nvidia,tristate = <TEGRA_PIN_DISABLE>;
			};

			pj0 {
				nvidia,pins = "pj0";
				nvidia,function = "rsvd1";
				nvidia,enable-input = <TEGRA_PIN_ENABLE>;
				nvidia,pull = <TEGRA_PIN_PULL_UP>;
				nvidia,tristate = <TEGRA_PIN_DISABLE>;
			};

			pk4 {
				nvidia,pins = "pk4";
				nvidia,function = "gmi";
				nvidia,enable-input = <TEGRA_PIN_DISABLE>;
				nvidia,pull = <TEGRA_PIN_PULL_NONE>;
				nvidia,tristate = <TEGRA_PIN_DISABLE>;
			};

			pk2 {
				nvidia,pins = "pk2";
				nvidia,function = "rsvd4";
				nvidia,enable-input = <TEGRA_PIN_ENABLE>;
				nvidia,pull = <TEGRA_PIN_PULL_UP>;
				nvidia,tristate = <TEGRA_PIN_DISABLE>;
			};

			pi6 {
				nvidia,pins = "pi6";
				nvidia,function = "rsvd1";
				nvidia,enable-input = <TEGRA_PIN_ENABLE>;
				nvidia,pull = <TEGRA_PIN_PULL_UP>;
				nvidia,tristate = <TEGRA_PIN_DISABLE>;
			};

			pi5 {
				nvidia,pins = "pi5";
				nvidia,function = "gmi";
				nvidia,enable-input = <TEGRA_PIN_ENABLE>;
				nvidia,pull = <TEGRA_PIN_PULL_UP>;
				nvidia,tristate = <TEGRA_PIN_DISABLE>;
			};

			pi4 {
				nvidia,pins = "pi4";
				nvidia,function = "gmi";
				nvidia,enable-input = <TEGRA_PIN_DISABLE>;
				nvidia,pull = <TEGRA_PIN_PULL_UP>;
				nvidia,tristate = <TEGRA_PIN_DISABLE>;
			};

			pi0 {
				nvidia,pins = "pi0";
				nvidia,function = "rsvd4";
				nvidia,enable-input = <TEGRA_PIN_DISABLE>;
				nvidia,pull = <TEGRA_PIN_PULL_NONE>;
				nvidia,tristate = <TEGRA_PIN_DISABLE>;
			};

			clk2_req_pcc5 {
				nvidia,pins = "clk2_req_pcc5";
				nvidia,function = "dap";
				nvidia,enable-input = <TEGRA_PIN_DISABLE>;
				nvidia,pull = <TEGRA_PIN_PULL_NONE>;
				nvidia,tristate = <TEGRA_PIN_DISABLE>;
			};

			kb_col0_pq0 {
				nvidia,pins = "kb_col0_pq0";
				nvidia,function = "rsvd4";
				nvidia,enable-input = <TEGRA_PIN_ENABLE>;
				nvidia,pull = <TEGRA_PIN_PULL_UP>;
				nvidia,tristate = <TEGRA_PIN_DISABLE>;
			};

			kb_col5_pq5 {
				nvidia,pins = "kb_col5_pq5";
				nvidia,function = "rsvd4";
				nvidia,enable-input = <TEGRA_PIN_ENABLE>;
				nvidia,pull = <TEGRA_PIN_PULL_UP>;
				nvidia,tristate = <TEGRA_PIN_DISABLE>;
			};

			kb_col6_pq6 {
				nvidia,pins = "kb_col6_pq6";
				nvidia,function = "rsvd2";
				nvidia,enable-input = <TEGRA_PIN_ENABLE>;
				nvidia,pull = <TEGRA_PIN_PULL_UP>;
				nvidia,tristate = <TEGRA_PIN_DISABLE>;
			};

			kb_col7_pq7 {
				nvidia,pins = "kb_col7_pq7";
				nvidia,function = "rsvd2";
				nvidia,enable-input = <TEGRA_PIN_ENABLE>;
				nvidia,pull = <TEGRA_PIN_PULL_UP>;
				nvidia,tristate = <TEGRA_PIN_DISABLE>;
			};

			kb_row0_pr0 {
				nvidia,pins = "kb_row0_pr0";
				nvidia,function = "rsvd4";
				nvidia,enable-input = <TEGRA_PIN_DISABLE>;
				nvidia,pull = <TEGRA_PIN_PULL_NONE>;
				nvidia,tristate = <TEGRA_PIN_DISABLE>;
			};

			kb_row1_pr1 {
				nvidia,pins = "kb_row1_pr1";
				nvidia,function = "rsvd4";
				nvidia,enable-input = <TEGRA_PIN_DISABLE>;
				nvidia,pull = <TEGRA_PIN_PULL_NONE>;
				nvidia,tristate = <TEGRA_PIN_DISABLE>;
			};

			kb_row13_ps5 {
				nvidia,pins = "kb_row13_ps5";
				nvidia,function = "rsvd4";
				nvidia,enable-input = <TEGRA_PIN_ENABLE>;
				nvidia,pull = <TEGRA_PIN_PULL_UP>;
				nvidia,tristate = <TEGRA_PIN_DISABLE>;
			};

			kb_row14_ps6 {
				nvidia,pins = "kb_row14_ps6";
				nvidia,function = "rsvd4";
				nvidia,enable-input = <TEGRA_PIN_DISABLE>;
				nvidia,pull = <TEGRA_PIN_PULL_NONE>;
				nvidia,tristate = <TEGRA_PIN_DISABLE>;
			};

			kb_row2_pr2 {
				nvidia,pins = "kb_row2_pr2";
				nvidia,function = "rsvd4";
				nvidia,enable-input = <TEGRA_PIN_DISABLE>;
				nvidia,pull = <TEGRA_PIN_PULL_NONE>;
				nvidia,tristate = <TEGRA_PIN_DISABLE>;
			};

			kb_row5_pr5 {
				nvidia,pins = "kb_row5_pr5";
				nvidia,function = "rsvd3";
				nvidia,enable-input = <TEGRA_PIN_DISABLE>;
				nvidia,pull = <TEGRA_PIN_PULL_NONE>;
				nvidia,tristate = <TEGRA_PIN_DISABLE>;
			};

			kb_row7_pr7 {
				nvidia,pins = "kb_row7_pr7";
				nvidia,function = "rsvd2";
				nvidia,enable-input = <TEGRA_PIN_ENABLE>;
				nvidia,pull = <TEGRA_PIN_PULL_UP>;
				nvidia,tristate = <TEGRA_PIN_DISABLE>;
			};

			kb_row8_ps0 {
				nvidia,pins = "kb_row8_ps0";
				nvidia,function = "rsvd2";
				nvidia,enable-input = <TEGRA_PIN_ENABLE>;
				nvidia,pull = <TEGRA_PIN_PULL_UP>;
				nvidia,tristate = <TEGRA_PIN_DISABLE>;
			};

			kb_row10_ps2 {
				nvidia,pins = "kb_row10_ps2";
				nvidia,function = "kbc";
				nvidia,enable-input = <TEGRA_PIN_DISABLE>;
				nvidia,pull = <TEGRA_PIN_PULL_UP>;
				nvidia,tristate = <TEGRA_PIN_DISABLE>;
			};

			clk3_req_pee1 {
				nvidia,pins = "clk3_req_pee1";
				nvidia,function = "rsvd4";
				nvidia,enable-input = <TEGRA_PIN_DISABLE>;
				nvidia,pull = <TEGRA_PIN_PULL_NONE>;
				nvidia,tristate = <TEGRA_PIN_DISABLE>;
			};

			pu4 {
				nvidia,pins = "pu4";
				nvidia,function = "pwm1";
				nvidia,enable-input = <TEGRA_PIN_ENABLE>;
				nvidia,pull = <TEGRA_PIN_PULL_UP>;
				nvidia,tristate = <TEGRA_PIN_ENABLE>;
			};

			pu5 {
				nvidia,pins = "pu5";
				nvidia,function = "pwm2";
				nvidia,enable-input = <TEGRA_PIN_ENABLE>;
				nvidia,pull = <TEGRA_PIN_PULL_UP>;
				nvidia,tristate = <TEGRA_PIN_DISABLE>;
			};

			pu6 {
				nvidia,pins = "pu6";
				nvidia,function = "rsvd3";
				nvidia,enable-input = <TEGRA_PIN_ENABLE>;
				nvidia,pull = <TEGRA_PIN_PULL_UP>;
				nvidia,tristate = <TEGRA_PIN_DISABLE>;
			};

			ulpi_data0_po1 {
				nvidia,pins = "ulpi_data0_po1";
				nvidia,function = "spi3";
				nvidia,enable-input = <TEGRA_PIN_DISABLE>;
				nvidia,pull = <TEGRA_PIN_PULL_DOWN>;
				nvidia,tristate = <TEGRA_PIN_ENABLE>;
			};

			ulpi_data3_po4 {
				nvidia,pins = "ulpi_data3_po4";
				nvidia,function = "spi3";
				nvidia,enable-input = <TEGRA_PIN_DISABLE>;
				nvidia,pull = <TEGRA_PIN_PULL_DOWN>;
				nvidia,tristate = <TEGRA_PIN_ENABLE>;
			};

			pi1 {
				nvidia,pins = "pi1";
				nvidia,function = "rsvd1";
				nvidia,enable-input = <TEGRA_PIN_DISABLE>;
				nvidia,pull = <TEGRA_PIN_PULL_DOWN>;
				nvidia,tristate = <TEGRA_PIN_ENABLE>;
			};
		};
	};

	vdd_ac_bat_reg: regulator-vddac {
		compatible = "regulator-fixed";
		regulator-name = "vdd_ac_bat";
		regulator-min-microvolt = <5000000>;
		regulator-max-microvolt = <5000000>;
		regulator-always-on;
	};

	usb0_vbus: regulator-vbus0 {
		compatible = "regulator-fixed";
		regulator-name = "usb0-vbus";
		regulator-min-microvolt = <5000000>;
		regulator-max-microvolt = <5000000>;
		gpio = <&gpio TEGRA_GPIO(N, 4) GPIO_ACTIVE_HIGH>;
		enable-active-high;
		gpio-open-drain;
	};

	usb1_vbus: regulator-vbus1 {
		compatible = "regulator-fixed";
		regulator-name = "usb1-vbus";
		regulator-min-microvolt = <5000000>;
		regulator-max-microvolt = <5000000>;
		enable-active-high;
		gpio = <&gpio TEGRA_GPIO(N, 5) GPIO_ACTIVE_HIGH>;
		gpio-open-drain;
		vin-supply = <&palmas_smps10_out2>;
	};

	usb2_vbus: regulator-vbus2 {
		compatible = "regulator-fixed";
		reg = <3>;
		regulator-name = "usb2-vbus";
		regulator-min-microvolt = <5000000>;
		regulator-max-microvolt = <5000000>;
		enable-active-high;
		gpio = <&gpio TEGRA_GPIO(FF, 1) GPIO_ACTIVE_HIGH>;
		gpio-open-drain;
		vin-supply = <&palmas_smps10_out2>;
	};

	avdd_lcd: regulator-avddlcd {
		compatible = "regulator-fixed";
		reg = <4>;
		regulator-name = "avdd-lcd-vsp";
		regulator-min-microvolt = <5500000>;
		regulator-max-microvolt = <5500000>;
		regulator-boot-on;
		gpio = <&gpio TEGRA_GPIO(I, 4) GPIO_ACTIVE_HIGH>;
		regulator-always-on;
		enable-active-high;
	};

	bvdd_lcd: regulator-bvddlcd {
		compatible = "regulator-fixed";
		regulator-name = "avdd-lcd-vsn";
		regulator-min-microvolt = <5500000>;
		regulator-max-microvolt = <5500000>;
		regulator-boot-on;
		gpio = <&gpio TEGRA_GPIO(S, 2) GPIO_ACTIVE_HIGH>;
		enable-active-high;
	};

	vdd_lcd: regulator-vddlcd {
		compatible = "regulator-fixed";
		regulator-name = "vdd-lcd";
		regulator-min-microvolt = <1200000>;
		regulator-max-microvolt = <1200000>;
		enable-active-high;
		gpio = <&palmas_gpio 4 GPIO_ACTIVE_HIGH>;
		vin-supply = <&palmas_smps8>;
	};

	ldoen: regulator-ldoen {
		compatible = "regulator-fixed";
		regulator-name = "ldoen";
		regulator-min-microvolt = <1200000>;
		regulator-max-microvolt = <1200000>;
		enable-active-high;
		gpio = <&palmas_gpio 6 GPIO_ACTIVE_HIGH>;
		vin-supply = <&palmas_smps8>;
	};

	en_lcd_bl: regulator-lcdblen {
		compatible = "regulator-fixed";
		regulator-name = "en-lcd-bl";
		regulator-min-microvolt = <5000000>;
		regulator-max-microvolt = <5000000>;
		enable-active-high;
		gpio = <&gpio TEGRA_GPIO(H, 2) GPIO_ACTIVE_HIGH>;
	};

	vdd_hdmi: regulator-vddhdmi {
		compatible = "regulator-fixed";
		regulator-name = "vdd-hdmi";
		regulator-min-microvolt = <5000000>;
		regulator-max-microvolt = <5000000>;
		enable-active-high;
		gpio = <&gpio TEGRA_GPIO(K, 6) GPIO_ACTIVE_HIGH>;
		vin-supply = <&palmas_smps10_out1>;
	};

	vdd_cam_1v8: regulator-cam1v8 {
		compatible = "regulator-fixed";
		regulator-name = "vdd-cam-1v8";
		regulator-min-microvolt = <1800000>;
		regulator-max-microvolt = <1800000>;
		enable-active-high;
		gpio = <&palmas_gpio 1 GPIO_ACTIVE_HIGH>;
		vin-supply = <&palmas_smps8>;
	};

	vdd_cam_1v2: regulator-cam1v2 {
		compatible = "regulator-fixed";
		regulator-name = "vdd-cam-1v2";
		regulator-min-microvolt = <1200000>;
		regulator-max-microvolt = <1200000>;
		enable-active-high;
		gpio = <&palmas_gpio 2 GPIO_ACTIVE_HIGH>;
		vin-supply = <&palmas_smps8>;
	};

	usb@70090000 {
		phys = <&{/padctl@7009f000/pads/usb2/lanes/usb2-0}>; /* Micro A/B */
		phy-names = "usb2-0";

		avddio-pex-supply = <&palmas_smps10_out2>;
		dvddio-pex-supply = <&palmas_smps10_out2>;
		avdd-usb-supply = <&ldousb_reg>;
		avdd-pll-utmip-supply = <&palmas_smps8>;
		avdd-pll-erefe-supply = <&palmas_ldo1>;
		avdd-usb-ss-pll-supply = <&palmas_ldo1>;
		hvdd-usb-ss-supply = <&ldousb_reg>;
		hvdd-usb-ss-pll-e-supply = <&ldousb_reg>;

		status = "okay";
	};

	padctl@7009f000 {
		status = "okay";

		pads {
			usb2 {
				status = "okay";

				lanes {
					usb2-0 {
						nvidia,function = "xusb";
						status = "okay";
					};
				};
			};
		};

		ports {
			/* Micro A/B */
			usb2-0 {
				status = "okay";
				mode = "host";
			};
		};
	};

    uartd: serial@70006300 {
		status = "okay";
	};
};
